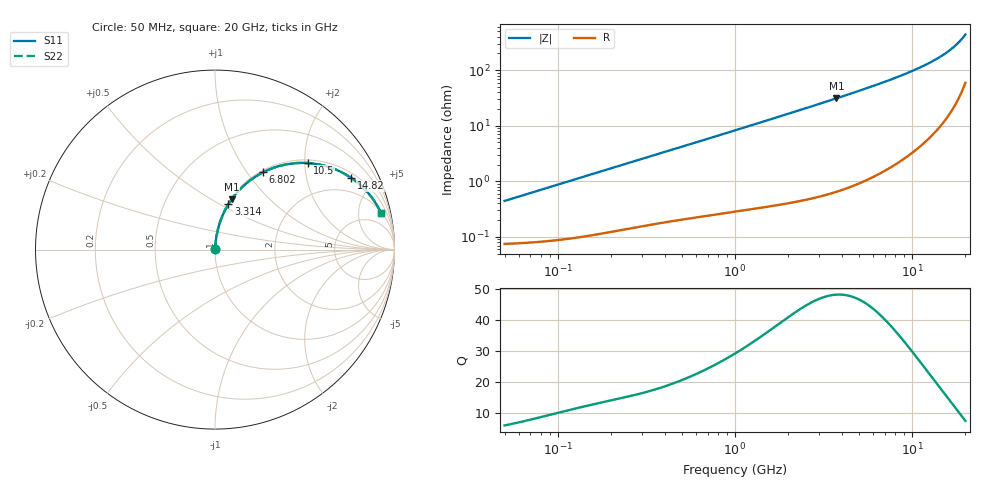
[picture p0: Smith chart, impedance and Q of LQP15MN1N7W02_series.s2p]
!Murata Part Number: LQP15MN1N7W02
!These Parameters are Measured in Series Mode Connection
!  o--[Z]--o
!Port1  Port2
!  o-------o
!Freq. Start=50[MHz] Stop=20[GHz], 401[Steps]
# Hz S RI R 50
!Freq.(Hz) S11(Real) S11(Imag) S21(Real) S21(Imag) S12(Real) S12(Imag) S22(Real) S22(Imag)
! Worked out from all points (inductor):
!   401 points, 50 MHz to 20 GHz, reference 50 ohm
!   read as one part in series: L = 1.39 nH near 51.52 MHz
!   highest Q = 48 at 3.736 GHz (marker M1), where L = 1.32 nH
!   S11 on the Smith chart (normalised r, x): 50 MHz: 1.00, +0.01; 3.314 GHz: 1.01, +0.55; 6.802 GHz: 1.03, +1.19; 10.5 GHz: 1.07, +2.07; 14.82 GHz: 1.22, +3.68; 20 GHz: 2.19, +8.70
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5e7  0.000766 0.00437  0.9992 -0.00437  0.9992 -0.00437  0.000766 0.00437
1.364002e8  0.00114 0.0118  0.9989 -0.0118  0.9989 -0.0118  0.00114 0.0118
3.721004e8  0.00273 0.0312  0.9973 -0.0312  0.9973 -0.0312  0.00273 0.0312
6.380365e8  0.00508 0.0526  0.9949 -0.0526  0.9949 -0.0526  0.00508 0.0526
1e9  0.00953 0.0815  0.9905 -0.0815  0.9905 -0.0815  0.00953 0.0815
1.689197e9  0.0224 0.1352  0.9776 -0.1352  0.9776 -0.1352  0.0224 0.1352
2.728004e9  0.0524 0.2121  0.9476 -0.2121  0.9476 -0.2121  0.0524 0.2121
3.314454e9  0.0747 0.2527  0.9253 -0.2527  0.9253 -0.2527  0.0747 0.2527
3.736399e9  0.093 0.2802  0.907 -0.2802  0.907 -0.2802  0.093 0.2802
5.117541e9  0.1639 0.3596  0.8361 -0.3596  0.8361 -0.3596  0.1639 0.3596
5.944466e9  0.213 0.3981  0.787 -0.3981  0.787 -0.3981  0.213 0.3981
6.802353e9  0.2675 0.4306  0.7325 -0.4306  0.7325 -0.4306  0.2675 0.4306
7.442007e9  0.3099 0.4496  0.6901 -0.4496  0.6901 -0.4496  0.3099 0.4496
8.907419e9  0.4092 0.4769  0.5908 -0.4769  0.5908 -0.4769  0.4092 0.4769
1.050288e10  0.516 0.4823  0.484 -0.4823  0.484 -0.4823  0.516 0.4823
1.257102e10  0.6433 0.4571  0.3567 -0.4571  0.3567 -0.4571  0.6433 0.4571
1.482269e10  0.7599 0.3987  0.2401 -0.3987  0.2401 -0.3987  0.7599 0.3987
1.597544e10  0.8091 0.3601  0.1909 -0.3601  0.1909 -0.3601  0.8091 0.3601
1.721783e10  0.8541 0.3142  0.1459 -0.3142  0.1459 -0.3142  0.8541 0.3142
1.828096e10  0.8861 0.2725  0.1139 -0.2725  0.1139 -0.2725  0.8861 0.2725
1.940974e10  0.9137 0.2269  0.0863 -0.2269  0.0863 -0.2269  0.9137 0.2269
2e10  0.9257 0.2027  0.0743 -0.2027  0.0743 -0.2027  0.9257 0.2027
